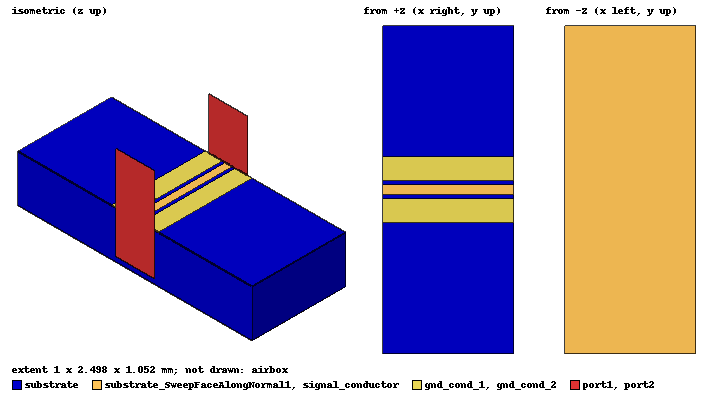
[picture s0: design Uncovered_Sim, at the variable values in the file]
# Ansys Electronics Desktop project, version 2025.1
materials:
  vacuum: permittivity=1
  sapphire: permittivity=9.4 dielectric_loss_tangent=2e-05
  air: permittivity=1.0006 permeability=1.0000004
  gold: permeability=0.99996 conductivity=41000000
  gallium_arsenide: permittivity=12.9 conductivity=1e-05 dielectric_loss_tangent=0.0001
  pec: conductivity=1e+30

design CPW_transition (HFSS, HFSS Terminal Network, model units mm)
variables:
  subx = 5mm
  suby = s + 2*(g+gnd_width) + 3000um
  subz = 500um
  s = 60um
  g = 28.5um
  gnd_width = 200um
  Tmet = 2um
  air_box_h = subz + 15000um
  porty = 3*(2*g+s)
  portz = 2*subz
  airx = subx
  airy = suby+15000um
  abpillarx = 20um
  abpillary = 20um
  abpillarz = 4um
  transition_gap = 1000um
  pillarh = 20um
  sig_p_r = 20um
  overlay_pad = overlay_tol
  g_pillar_seperation = 100um
  gnd_p_r = 30um
  chipx = transition_gap+ 2*overlay_tol + 2*dielectric_overlap
  chipy = 3mm
  overlay_tol = 50um
  dielectric_overlap = 1mm
  chip_s = 60um
  chip_g = 51um
  chip_gnd_width = 200um
  bonder_tol = 10um
  trace_overlap = transition_gap + 2* overlay_tol + 4*gnd_p_r + bonder_tol
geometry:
  substrate [sapphire] = box(corner=(-subx/2, -suby/2, 0mm), size=(subx, suby, subz))
  signal_dummy [vacuum, non-model] = substrate.section(plane=ZX)
  signal_dummy.thicken(s, both sides)
  gap_dummy1 [vacuum, non-model] = sweep_along_normal(signal_dummy.face(at (0, -0.03, 0.25)), length=g)
  gap_dummy2 [vacuum, non-model] = sweep_along_normal(signal_dummy.face(at (0, 0.03, 0.25)), length=g)
  gnd_dummy1 [vacuum, non-model] = sweep_along_normal(gap_dummy1.face(at (0, -0.0585, 0.25)), length=gnd_width)
  gnd_dummy2 [vacuum, non-model] = sweep_along_normal(gap_dummy2.face(at (0, 0.0585, 0.25)), length=gnd_width)
  port1 = rectangle(corner=(subx/2, -porty/2, 50um), y_size=porty, z_size=portz)
  port2 = rectangle(corner=(-subx/2, -porty/2, 50um), y_size=porty, z_size=portz)
  airbox [air] = box(corner=(-airx/2, -airy/2, -air_box_h/2), size=(airx, airy, air_box_h))
  backside_gnd [gold] = sweep_along_normal(substrate.face(-z), length=2um)
  substrate_Section1 = substrate.section(plane=YZ)
  substrate_Section1.thicken(transition_gap, both sides)
  substrate_Section1_1 = substrate_Section1.copy()
  gap_dummy1.subtract(substrate_Section1_1)
  substrate_Section1_2 = substrate_Section1.copy()
  gap_dummy2.subtract(substrate_Section1_2)
  substrate_Section1_3 = substrate_Section1.copy()
  gnd_dummy1.subtract(substrate_Section1_3)
  substrate_Section1_4 = substrate_Section1.copy()
  gnd_dummy2.subtract(substrate_Section1_4)
  signal_dummy.subtract(substrate_Section1)
  gnd1_1, gnd1_2 [gold] = sweep_along_normal(gnd_dummy1.face(at (1.5, -0.1585, 0.5), at (-1.5, -0.1585, 0.5)), length=Tmet)
  signal1, signal2 [gold] = sweep_along_normal(signal_dummy.face(at (1.5, 0, 0.5), at (-1.5, 0, 0.5)), length=Tmet)
  gnd2_1, gnd2_2 [gold] = sweep_along_normal(gnd_dummy2.face(at (1.5, 0.1585, 0.5), at (-1.5, 0.1585, 0.5)), length=Tmet)
  p_sig_1 [gold] = cylinder(axis=Z, base_centre=(transition_gap/2 + sig_p_r  + overlay_pad, 0mm, subz+Tmet), radius=sig_p_r, height=pillarh)
  p_sig_2 [gold] = p_sig_1.duplicate_mirror(point=(0mm, 0mm, 0mm), normal=(-1mm, 0mm, 0mm))
  p_gnd_1_1 [gold] = cylinder(axis=Z, base_centre=(transition_gap/2 + sig_p_r  + overlay_pad, -g -s/2 - g_pillar_seperation, subz+Tmet), radius=gnd_p_r, height=pillarh)
  p_gnd_2_1 [gold] = p_gnd_1_1.duplicate_mirror(point=(0.53mm, 0mm, 0.502mm), normal=(2.7755576e-14mm, 1mm, 0mm))
  p_gnd_1_2 [gold] = p_gnd_1_1.duplicate_mirror(point=(0mm, 0mm, 0mm), normal=(-1mm, 0mm, 0mm))
  p_gnd_2_2 [gold] = p_gnd_2_1.duplicate_mirror(point=(0mm, 0mm, 0mm), normal=(-1mm, 0mm, 0mm))
  chip [gallium_arsenide] = box(corner=(-chipx/2, -chipy/2, subz+2*Tmet+pillarh), size=(chipx, chipy, subz))
  chip_signal_dummy [gallium_arsenide, non-model] = chip.section(plane=ZX)
  chip_signal_dummy.thicken(chip_s, both sides)
  chip_gap_dummy2, chip_gap_dummy1 [gallium_arsenide, non-model] = sweep_along_normal(chip_signal_dummy.face(at (0, 0.03, 0.774), at (0, -0.03, 0.774)), length=chip_g)
  chip_gnd_dummy2 [gallium_arsenide, non-model] = sweep_along_normal(chip_gap_dummy2.face(at (0, 0.081, 0.774)), length=chip_gnd_width)
  chip_gnd_dummy1 [gallium_arsenide, non-model] = sweep_along_normal(chip_gap_dummy1.face(at (0, -0.081, 0.774)), length=chip_gnd_width)
  chip_Section1_Section1 [gallium_arsenide, non-model] = chip_signal_dummy.section(plane=YZ)
  chip_Section1_SweepFaceAlongNormal1_Section1 [gallium_arsenide, non-model] = chip_gap_dummy2.section(plane=YZ)
  chip_Section1_SweepFaceAlongNormal2_Section1 [gallium_arsenide, non-model] = chip_gap_dummy1.section(plane=YZ)
  chip_Section1_SweepFaceAlongNormal1_SweepFaceAlongNormal1_Section1 [gallium_arsenide, non-model] = chip_gnd_dummy2.section(plane=YZ)
  chip_Section1_SweepFaceAlongNormal2_SweepFaceAlongNormal1_Section1 [gallium_arsenide, non-model] = chip_gnd_dummy1.section(plane=YZ)
  [chip_Section1_Section1, chip_Section1_SweepFaceAlongNormal1_Section1, chip_Section1_SweepFaceAlongNormal2_Section1, chip_Section1_SweepFaceAlongNormal1_SweepFaceAlongNormal1_Section1, chip_Section1_SweepFaceAlongNormal2_SweepFaceAlongNormal1_Section1].thicken(trace_overlap, both sides)
  chip_gnd1 [gold] = sweep_along_normal(chip_Section1_SweepFaceAlongNormal2_SweepFaceAlongNormal1_Section1.face(at (0, -0.181, 0.524)), length=Tmet)
  chip_gnd2 [gold] = sweep_along_normal(chip_Section1_SweepFaceAlongNormal1_SweepFaceAlongNormal1_Section1.face(at (0, 0.181, 0.524)), length=Tmet)
  chip_signal [gold] = sweep_along_normal(chip_Section1_Section1.face(at (0, 0, 0.524)), length=Tmet)
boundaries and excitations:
  Rad1: Radiation Faces=airbox.face(-y, +z, -z, +y)
  Rad2: Radiation Faces=airbox.face(+x, -x)
  PerfE1: Perfect E Faces=backside_gnd.face(at (0, 0, -0.002))
  1: Wave Port Objects=port1 WavePortType=Modal NumModes=1 Modes{Mode1{IntLine{(2.5, 0.03, 0.502) -> (2.5, 0.0585, 0.502)} CharImp=Zpv RenormImp=50ohm}}
  2: Wave Port Objects=port2 WavePortType=Modal NumModes=1 Modes{Mode1{IntLine{(-2.5, 0.03, 0.502) -> (-2.5, 0.0585, 0.502)} CharImp=Zpv RenormImp=50ohm}}
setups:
  broadband: HfssDriven MultipleAdaptiveFreqsSetup{Low=15GHz High=40GHz} MaxDeltaS=0.02 MaximumPasses=15 MinimumPasses=1 MinimumConvergedPasses=1 PercentRefinement=30 BasisOrder=1 PortAccuracy=0.1 UseABCOnPort DrivenSolverType="Direct Solver" SaveAnyFields=false
    sweep Sweep: 5GHz to 50GHz, 801 points; Type=Interpolating InterpTolerance=0.5 InterpMaxSolns=250 PassivityErrorTolerance=0.0001
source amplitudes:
  1:1: 1V 0deg
  2:1: 0V 0deg
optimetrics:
  pillar_height: Parametric Sim._Setups=[broadband]
    sweep pillarh: LIN 5um 50um 5um
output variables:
  Zo = 50*(1 + re(St(signal_conductor_T1,signal_conductor_T1)))/(1-re(St(signal_conductor_T1,signal_conductor_T1)))
  lost_power_fraction = 1-(mag(St(1,1))^2 + mag(St(2,1))^2)
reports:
  Terminal S Parameter Plot1: dB(St(1,1)) vs Freq on broadband : Sweep [pillarh=5um,15um,25um,35um,45um]; markers m1 at 27GHz, m2 at 40GHz
  Terminal S Parameter Plot2: dB(St(1,2)) vs Freq on broadband : Sweep [pillarh=5um,15um,25um,35um,45um]; markers m1 at 27GHz, m2 at 40GHz
  Terminal S Parameter Chart1: St(1,1) on broadband : Sweep [Freq=all pillarh=5um,25um,45um]
  Terminal S Parameter Chart2: St(1,2) on broadband : Sweep [Freq=all]
  Terminal Port Zo Plot1: ; markers MX1 at x=3.35e+10, MX2 at x=2.7e+10, MX3 at x=4e+10
  Output Variables Plot2: lost_power_fraction vs Freq on broadband : Sweep [pillarh=5um,15um,25um,35um,45um]; markers m1 at 27GHz, m2 at 40GHz
  Terminal TDR Impedance Plot1: TDRZt(1) vs Time on broadband : Sweep [pillarh=5um,20um,35um,50um]
  Port Zo Plot1: re(Zo(1)) vs Freq on broadband : Sweep

design Uncovered_Sim (HFSS, HFSS Terminal Network, model units mm)
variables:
  subx = 1mm
  suby = s + 2*(g+gnd_width) + 2000um
  subz = 500um
  s = 72um
  g = 33.16um
  gnd_width = 180um
  Tmet = 2um
  air_box_h = subz + 15000um
  porty = 3*(2*g+s)
  portz = 2*subz
  airx = subx
  airy = suby+15000um
  abpillarx = 20um
  abpillary = 20um
  abpillarz = 4um
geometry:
  substrate [sapphire] = box(corner=(-subx/2, -suby/2, 0mm), size=(subx, suby, subz))
  signal_dummy [vacuum, non-model] = substrate.section(plane=ZX)
  signal_dummy.thicken(s, both sides)
  gap_dummy1 [vacuum, non-model] = sweep_along_normal(signal_dummy.face(at (0, -0.036, 0.25)), length=g)
  gap_dummy2 [vacuum, non-model] = sweep_along_normal(signal_dummy.face(at (0, 0.036, 0.25)), length=g)
  gnd_dummy1 [vacuum, non-model] = sweep_along_normal(gap_dummy1.face(at (0, -0.06916, 0.25)), length=gnd_width)
  gnd_dummy2 [vacuum, non-model] = sweep_along_normal(gap_dummy2.face(at (0, 0.06916, 0.25)), length=gnd_width)
  signal_conductor [gold] = sweep_along_normal(signal_dummy.face(at (0, 0, 0.5)), length=Tmet)
  gnd_cond_1 [gold] = sweep_along_normal(gnd_dummy1.face(at (0, -0.15916, 0.5)), length=Tmet)
  gnd_cond_2 [gold] = sweep_along_normal(gnd_dummy2.face(at (0, 0.15916, 0.5)), length=Tmet)
  port1 = rectangle(corner=(subx/2, -porty/2, 50um), y_size=porty, z_size=portz)
  port2 = rectangle(corner=(-subx/2, -porty/2, 50um), y_size=porty, z_size=portz)
  airbox [air] = box(corner=(-airx/2, -airy/2, -air_box_h/2), size=(airx, airy, air_box_h))
  airbridge1 [gold, non-model] = box(corner=(2mm, 0mm, 0mm), size=(abpillarx, abpillary, abpillarz))
  Box3 = box(corner=(2mm+abpillarx +2*g+s, 0mm, 0mm), size=(abpillarx, abpillary, abpillarz))
  Box4 = box(corner=(2mm, 0.02mm -abpillary, 0.004mm), size=(2*abpillarx +2*g+s, abpillary, 2um))
  airbridge1.unite(Box3, Box4)
  airbridge1.move(-2mm, 0mm, subz+Tmet)
  airbridge1.rotate(axis=Z, angle=90deg)
  airbridge1.move(0.01mm, -0.0785mm, 0mm)
  airbridge3 [gold, non-model] = box(corner=(2mm, 0mm, 0mm), size=(abpillarx, abpillary, abpillarz))
  Box6 = box(corner=(2mm+abpillarx +2*g+s, 0mm, 0mm), size=(abpillarx, abpillary, abpillarz))
  Box7 = box(corner=(2mm, 0.02mm -abpillary, 0.004mm), size=(2*abpillarx +2*g+s, abpillary, 2um))
  airbridge3.unite(Box6, Box7)
  airbridge3.move(-2mm, 0mm, subz+Tmet)
  airbridge3.rotate(axis=Z, angle=90deg)
  airbridge3.move(0.01mm, -0.0785mm, 0mm)
  airbridge2 [gold, non-model] = box(corner=(2mm, 0mm, 0mm), size=(abpillarx, abpillary, abpillarz))
  Box9 = box(corner=(2mm+abpillarx +2*g+s, 0mm, 0mm), size=(abpillarx, abpillary, abpillarz))
  Box10 = box(corner=(2mm, 0.02mm -abpillary, 0.004mm), size=(2*abpillarx +2*g+s, abpillary, 2um))
  airbridge2.unite(Box9, Box10)
  airbridge2.move(-2mm, 0mm, subz+Tmet)
  airbridge2.rotate(axis=Z, angle=90deg)
  airbridge2.move(0.01mm, -0.0785mm, 0mm)
  airbridge2.move(-350um, 0mm, 0mm)
  airbridge3.move(350um, 0mm, 0mm)
  airbridge4 [gold, non-model] = box(corner=(2mm, 0mm, 0mm), size=(abpillarx, abpillary, abpillarz))
  Box11 = box(corner=(2mm+abpillarx +2*g+s, 0mm, 0mm), size=(abpillarx, abpillary, abpillarz))
  Box12 = box(corner=(2mm, 0.02mm -abpillary, 0.004mm), size=(2*abpillarx +2*g+s, abpillary, 2um))
  airbridge4.unite(Box11, Box12)
  airbridge4.move(-2mm, 0mm, subz+Tmet)
  airbridge4.rotate(axis=Z, angle=90deg)
  airbridge4.move(0.01mm, -0.0785mm, 0mm)
  airbridge5 [gold, non-model] = box(corner=(2mm, 0mm, 0mm), size=(abpillarx, abpillary, abpillarz))
  Box13 = box(corner=(2mm+abpillarx +2*g+s, 0mm, 0mm), size=(abpillarx, abpillary, abpillarz))
  Box14 = box(corner=(2mm, 0.02mm -abpillary, 0.004mm), size=(2*abpillarx +2*g+s, abpillary, 2um))
  airbridge5.unite(Box13, Box14)
  airbridge5.move(-2mm, 0mm, subz+Tmet)
  airbridge5.rotate(axis=Z, angle=90deg)
  airbridge5.move(0.01mm, -0.0785mm, 0mm)
  airbridge4.move(-700um, 0mm, 0mm)
  airbridge5.move(700um, 0mm, 0mm)
  airbridge6 [gold, non-model] = box(corner=(2mm, 0mm, 0mm), size=(abpillarx, abpillary, abpillarz))
  Box15 = box(corner=(2mm+abpillarx +2*g+s, 0mm, 0mm), size=(abpillarx, abpillary, abpillarz))
  Box16 = box(corner=(2mm, 0.02mm -abpillary, 0.004mm), size=(2*abpillarx +2*g+s, abpillary, 2um))
  airbridge6.unite(Box15, Box16)
  airbridge6.move(-2mm, 0mm, subz+Tmet)
  airbridge6.rotate(axis=Z, angle=90deg)
  airbridge6.move(0.01mm, -0.0785mm, 0mm)
  airbridge6.move(-1050um, 0mm, 0mm)
  airbridge7 [gold, non-model] = box(corner=(2mm, 0mm, 0mm), size=(abpillarx, abpillary, abpillarz))
  Box17 = box(corner=(2mm+abpillarx +2*g+s, 0mm, 0mm), size=(abpillarx, abpillary, abpillarz))
  Box18 = box(corner=(2mm, 0.02mm -abpillary, 0.004mm), size=(2*abpillarx +2*g+s, abpillary, 2um))
  airbridge7.unite(Box17, Box18)
  airbridge7.move(-2mm, 0mm, subz+Tmet)
  airbridge7.rotate(axis=Z, angle=90deg)
  airbridge7.move(0.01mm, -0.0785mm, 0mm)
  airbridge7.move(1050um, 0mm, 0mm)
  substrate_SweepFaceAlongNormal1 [gold] = sweep_along_normal(substrate.face(-z), length=2um)
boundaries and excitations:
  Rad1: Radiation Faces=airbox.face(-y, +z, -z, +y)
  Rad2: Radiation Faces=airbox.face(+x, -x)
  PerfE1: Perfect E Faces=substrate_SweepFaceAlongNormal1.face(at (0, 0, -0.002))
  1: Wave Port Objects=port1 WavePortType=Modal NumModes=1 Modes{Mode1{IntLine{(0.5, 0.036, 0.502) -> (0.5, 0.06916, 0.502)} CharImp=Zpv}}
  2: Wave Port Objects=port2 WavePortType=Modal NumModes=1 Modes{Mode1{IntLine{(-0.5, 0.036, 0.502) -> (-0.5, 0.06916, 0.502)} CharImp=Zpv}}
  reference conductors: gnd_cond_1, gnd_cond_2
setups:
  broadband: HfssDriven MultipleAdaptiveFreqsSetup{Low=5GHz High=40GHz} MaxDeltaS=0.02 MaximumPasses=15 MinimumPasses=1 MinimumConvergedPasses=1 PercentRefinement=30 BasisOrder=1 PortAccuracy=0.1 UseABCOnPort DrivenSolverType="Direct Solver"
    sweep Sweep: 5GHz to 50GHz, 2801 points; Type=Interpolating InterpTolerance=0.5 InterpMaxSolns=250 PassivityErrorTolerance=0.0001
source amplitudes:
  1:1: 1V 0deg
  2:1: 0V 0deg
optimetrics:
  gnd_width: Parametric Sim._Setups=[broadband]
    sweep gnd_width: LIN 60um 240um 60um
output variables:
  Zo = 50*(1 + re(St(signal_conductor_T1,signal_conductor_T1)))/(1-re(St(signal_conductor_T1,signal_conductor_T1)))
  lost_power_fraction = 1-(mag(St(1,1))^2 + mag(St(2,1))^2)
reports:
  Terminal S Parameter Plot1: dB(St(1,1)) vs Freq on broadband : Sweep [gnd_width=all]; markers m1 at 27GHz, m2 at 40GHz, m3 at 32GHz
  Terminal S Parameter Plot2: dB(St(1,2)) vs Freq on broadband : Sweep [gnd_width=120um,180um,200um,240um]
  Terminal S Parameter Chart1: St(1,1) on broadband : Sweep [Freq=all]
  Terminal S Parameter Chart2: St(1,2) on broadband : Sweep [Freq=all]
  Terminal Port Zo Plot1: re(Zot(1,1)) vs Freq on broadband : Sweep; markers MX1 at x=3.35e+10, MX2 at x=2.7e+10, MX3 at x=4e+10
  Output Variables Plot1: lost_power_fraction vs Freq on broadband : Sweep [gnd_width=all]
